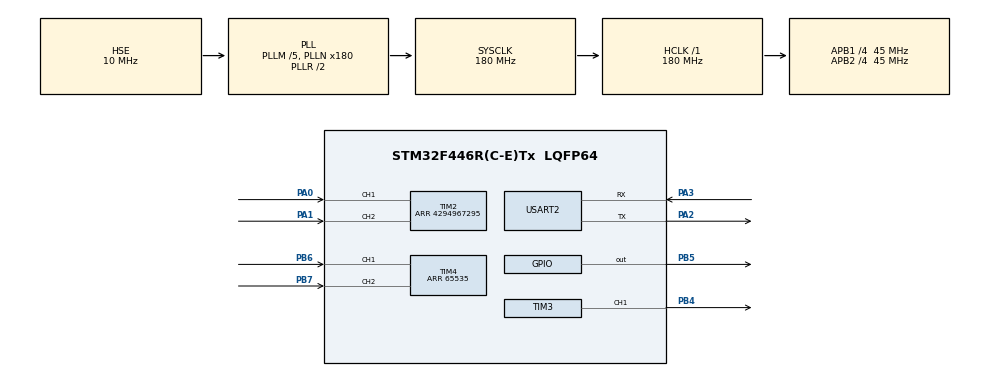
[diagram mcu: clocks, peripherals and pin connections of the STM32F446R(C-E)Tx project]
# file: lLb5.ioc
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Mcu.Family=STM32F4
RCC.PLLSourceVirtual=RCC_PLLSOURCE_HSE
PH0-OSC_IN.Signal=RCC_OSC_IN
RCC.CortexFreq_Value=180000000
Dma.USART2_TX.0.MemInc=DMA_MINC_ENABLE
TIM4.CounterMode=TIM_COUNTERMODE_UP
Dma.USART2_TX.0.PeriphDataAlignment=DMA_PDATAALIGN_BYTE
RCC.APB1CLKDivider=RCC_HCLK_DIV4
NVIC.USART2_IRQn=true\:0\:0\:false\:false\:true\:true\:true
Dma.USART2_TX.0.FIFOMode=DMA_FIFOMODE_DISABLE
RCC.SYSCLKSource=RCC_SYSCLKSOURCE_PLLRCLK
ProjectManager.StackSize=0x400
PA0-WKUP.Signal=S_TIM2_CH1_ETR
VP_TIM7_VS_ClockSourceINT.Mode=Enable_Timer
PA3.Mode=Asynchronous
SH.S_TIM2_CH2.0=TIM2_CH2,Encoder_Interface
Dma.USART2_TX.0.Priority=DMA_PRIORITY_LOW
ProjectManager.TargetToolchain=STM32CubeIDE
RCC.HCLKFreq_Value=180000000
RCC.APB2TimFreq_Value=90000000
TIM3.Period=100
PB6.Signal=S_TIM4_CH1
TIM7.Period=10000
RCC.USBFreq_Value=180000000
PA1.Signal=S_TIM2_CH2
RCC.AHBFreq_Value=180000000
PH0-OSC_IN.Mode=HSE-External-Oscillator
TIM3.Channel-PWM\ Generation1\ CH1=TIM_CHANNEL_1
RCC.HSE_VALUE=10000000
TIM7.Prescaler=1599
board=custom
RCC.VCOOutputFreq_Value=360000000
RCC.APB2Freq_Value=45000000
TIM3.Prescaler=900
PH1-OSC_OUT.Signal=RCC_OSC_OUT
SH.S_TIM4_CH2.0=TIM4_CH2,Encoder_Interface
PB7.Signal=S_TIM4_CH2
Dma.USART2_TX.0.MemDataAlignment=DMA_MDATAALIGN_BYTE
SH.S_TIM3_CH1.0=TIM3_CH1,PWM Generation1 CH1
TIM2.Period=4294967295
TIM4.Period=65535
Dma.USART2_TX.0.Direction=DMA_MEMORY_TO_PERIPH
Mcu.Name=STM32F446R(C-E)Tx
Dma.USART2_TX.0.Instance=DMA1_Stream6
PA2.Signal=USART2_TX
PH1-OSC_OUT.Mode=HSE-External-Oscillator
RCC.SYSCLKFreq_VALUE=180000000
Mcu.Package=LQFP64
PB5.Signal=GPIO_Output
Dma.USART2_TX.0.PeriphInc=DMA_PINC_DISABLE
USART2.VirtualMode=VM_ASYNC
SH.S_TIM2_CH1_ETR.0=TIM2_CH1,Encoder_Interface
ProjectManager.HeapSize=0x200
Dma.USART2_TX.0.Mode=DMA_NORMAL
NVIC.PriorityGroup=NVIC_PRIORITYGROUP_4
RCC.APB2CLKDivider=RCC_HCLK_DIV4
RCC.PLLM=5
RCC.PLLN=180
SH.S_TIM4_CH1.0=TIM4_CH1,Encoder_Interface
RCC.APB1TimFreq_Value=90000000
PA2.Mode=Asynchronous
Dma.Request0=USART2_TX
NVIC.DMA1_Stream6_IRQn=true\:0\:0\:false\:false\:true\:false\:true
RCC.APB1Freq_Value=45000000
NVIC.TIM7_IRQn=true\:0\:0\:false\:false\:true\:true\:true
VP_TIM3_VS_ClockSourceINT.Mode=Internal
PB4.Signal=S_TIM3_CH1
PA3.Signal=USART2_RX

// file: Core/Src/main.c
/* USER CODE BEGIN Header */
/**
  ******************************************************************************
  * @file           : main.c
  * @brief          : Main program body
  ******************************************************************************
  * @attention
  *
  * Copyright (c) 2022 STMicroelectronics.
  * All rights reserved.
  *
  * This software is licensed under terms that can be found in the LICENSE file
  * in the root directory of this software component.
  * If no LICENSE file comes with this software, it is provided AS-IS.
  *
  ******************************************************************************
  */
/* USER CODE END Header */
#include "main.h"

TIM_HandleTypeDef htim2;
TIM_HandleTypeDef htim3;
TIM_HandleTypeDef htim4;
TIM_HandleTypeDef htim7;

UART_HandleTypeDef huart2;
DMA_HandleTypeDef hdma_usart2_tx;

void SystemClock_Config(void);
static void MX_GPIO_Init(void);
static void MX_DMA_Init(void);
static void MX_TIM2_Init(void);
static void MX_USART2_UART_Init(void);
static void MX_TIM4_Init(void);
static void MX_TIM3_Init(void);
static void MX_TIM7_Init(void);

/* USER CODE BEGIN 0 */
typedef struct {
	uint32_t startByte;
	float control;
	float motor;
	float motor_speed;
	uint32_t endByte;
}outputData;

outputData txData;

/* USER CODE END 0 */

int main(void)
{

  /* MCU Configuration--------------------------------------------------------*/

  /* Reset of all peripherals, Initializes the Flash interface and the Systick. */
  HAL_Init();

  /* Configure the system clock */
  SystemClock_Config();

  /* Initialize all configured peripherals */
  MX_GPIO_Init();
  MX_DMA_Init();
  MX_TIM2_Init();
  MX_USART2_UART_Init();
  MX_TIM4_Init();
  MX_TIM3_Init();
  MX_TIM7_Init();
  /* USER CODE BEGIN 2 */
  HAL_TIM_PWM_Start(&htim3, TIM_CHANNEL_1);
  HAL_TIM_Base_Start_IT(&htim7);
  HAL_TIM_Encoder_Start(&htim2, TIM_CHANNEL_ALL);
  HAL_TIM_Encoder_Start(&htim4, TIM_CHANNEL_ALL);
  /* USER CODE END 2 */

  /* Infinite loop */
  while (1)
  {

  }
}

void SystemClock_Config(void)
{
  RCC_OscInitTypeDef RCC_OscInitStruct = {0};
  RCC_ClkInitTypeDef RCC_ClkInitStruct = {0};

  /** Configure the main internal regulator output voltage
  */
  __HAL_RCC_PWR_CLK_ENABLE();
  __HAL_PWR_VOLTAGESCALING_CONFIG(PWR_REGULATOR_VOLTAGE_SCALE1);
  /** Initializes the RCC Oscillators according to the specified parameters
  * in the RCC_OscInitTypeDef structure.
  */
  RCC_OscInitStruct.OscillatorType = RCC_OSCILLATORTYPE_HSE;
  RCC_OscInitStruct.HSEState = RCC_HSE_ON;
  RCC_OscInitStruct.PLL.PLLState = RCC_PLL_ON;
  RCC_OscInitStruct.PLL.PLLSource = RCC_PLLSOURCE_HSE;
  RCC_OscInitStruct.PLL.PLLM = 5;
  RCC_OscInitStruct.PLL.PLLN = 180;
  RCC_OscInitStruct.PLL.PLLP = RCC_PLLP_DIV2;
  RCC_OscInitStruct.PLL.PLLQ = 2;
  RCC_OscInitStruct.PLL.PLLR = 2;
  if (HAL_RCC_OscConfig(&RCC_OscInitStruct) != HAL_OK)
  {
    Error_Handler();
  }
  /** Activate the Over-Drive mode
  */
  if (HAL_PWREx_EnableOverDrive() != HAL_OK)
  {
    Error_Handler();
  }
  /** Initializes the CPU, AHB and APB buses clocks
  */
  RCC_ClkInitStruct.ClockType = RCC_CLOCKTYPE_HCLK|RCC_CLOCKTYPE_SYSCLK
                              |RCC_CLOCKTYPE_PCLK1|RCC_CLOCKTYPE_PCLK2;
  RCC_ClkInitStruct.SYSCLKSource = RCC_SYSCLKSOURCE_PLLRCLK;
  RCC_ClkInitStruct.AHBCLKDivider = RCC_SYSCLK_DIV1;
  RCC_ClkInitStruct.APB1CLKDivider = RCC_HCLK_DIV4;
  RCC_ClkInitStruct.APB2CLKDivider = RCC_HCLK_DIV4;

  if (HAL_RCC_ClockConfig(&RCC_ClkInitStruct, FLASH_LATENCY_5) != HAL_OK)
  {
    Error_Handler();
  }
}

static void MX_TIM2_Init(void)
{

  TIM_Encoder_InitTypeDef sConfig = {0};
  TIM_MasterConfigTypeDef sMasterConfig = {0};

  htim2.Instance = TIM2;
  htim2.Init.Prescaler = 0;
  htim2.Init.CounterMode = TIM_COUNTERMODE_UP;
  htim2.Init.Period = 4294967295;
  htim2.Init.ClockDivision = TIM_CLOCKDIVISION_DIV1;
  htim2.Init.AutoReloadPreload = TIM_AUTORELOAD_PRELOAD_DISABLE;
  sConfig.EncoderMode = TIM_ENCODERMODE_TI1;
  sConfig.IC1Polarity = TIM_ICPOLARITY_RISING;
  sConfig.IC1Selection = TIM_ICSELECTION_DIRECTTI;
  sConfig.IC1Prescaler = TIM_ICPSC_DIV1;
  sConfig.IC1Filter = 0;
  sConfig.IC2Polarity = TIM_ICPOLARITY_RISING;
  sConfig.IC2Selection = TIM_ICSELECTION_DIRECTTI;
  sConfig.IC2Prescaler = TIM_ICPSC_DIV1;
  sConfig.IC2Filter = 0;
  if (HAL_TIM_Encoder_Init(&htim2, &sConfig) != HAL_OK)
  {
    Error_Handler();
  }
  sMasterConfig.MasterOutputTrigger = TIM_TRGO_RESET;
  sMasterConfig.MasterSlaveMode = TIM_MASTERSLAVEMODE_DISABLE;
  if (HAL_TIMEx_MasterConfigSynchronization(&htim2, &sMasterConfig) != HAL_OK)
  {
    Error_Handler();
  }

}

static void MX_TIM3_Init(void)
{

  TIM_ClockConfigTypeDef sClockSourceConfig = {0};
  TIM_MasterConfigTypeDef sMasterConfig = {0};
  TIM_OC_InitTypeDef sConfigOC = {0};

  htim3.Instance = TIM3;
  htim3.Init.Prescaler = 900;
  htim3.Init.CounterMode = TIM_COUNTERMODE_UP;
  htim3.Init.Period = 100;
  htim3.Init.ClockDivision = TIM_CLOCKDIVISION_DIV1;
  htim3.Init.AutoReloadPreload = TIM_AUTORELOAD_PRELOAD_DISABLE;
  if (HAL_TIM_Base_Init(&htim3) != HAL_OK)
  {
    Error_Handler();
  }
  sClockSourceConfig.ClockSource = TIM_CLOCKSOURCE_INTERNAL;
  if (HAL_TIM_ConfigClockSource(&htim3, &sClockSourceConfig) != HAL_OK)
  {
    Error_Handler();
  }
  if (HAL_TIM_PWM_Init(&htim3) != HAL_OK)
  {
    Error_Handler();
  }
  sMasterConfig.MasterOutputTrigger = TIM_TRGO_RESET;
  sMasterConfig.MasterSlaveMode = TIM_MASTERSLAVEMODE_DISABLE;
  if (HAL_TIMEx_MasterConfigSynchronization(&htim3, &sMasterConfig) != HAL_OK)
  {
    Error_Handler();
  }
  sConfigOC.OCMode = TIM_OCMODE_PWM1;
  sConfigOC.Pulse = 0;
  sConfigOC.OCPolarity = TIM_OCPOLARITY_HIGH;
  sConfigOC.OCFastMode = TIM_OCFAST_DISABLE;
  if (HAL_TIM_PWM_ConfigChannel(&htim3, &sConfigOC, TIM_CHANNEL_1) != HAL_OK)
  {
    Error_Handler();
  }
  HAL_TIM_MspPostInit(&htim3);

}

static void MX_TIM4_Init(void)
{

  TIM_Encoder_InitTypeDef sConfig = {0};
  TIM_MasterConfigTypeDef sMasterConfig = {0};

  htim4.Instance = TIM4;
  htim4.Init.Prescaler = 0;
  htim4.Init.CounterMode = TIM_COUNTERMODE_UP;
  htim4.Init.Period = 65535;
  htim4.Init.ClockDivision = TIM_CLOCKDIVISION_DIV1;
  htim4.Init.AutoReloadPreload = TIM_AUTORELOAD_PRELOAD_DISABLE;
  sConfig.EncoderMode = TIM_ENCODERMODE_TI1;
  sConfig.IC1Polarity = TIM_ICPOLARITY_RISING;
  sConfig.IC1Selection = TIM_ICSELECTION_DIRECTTI;
  sConfig.IC1Prescaler = TIM_ICPSC_DIV1;
  sConfig.IC1Filter = 0;
  sConfig.IC2Polarity = TIM_ICPOLARITY_RISING;
  sConfig.IC2Selection = TIM_ICSELECTION_DIRECTTI;
  sConfig.IC2Prescaler = TIM_ICPSC_DIV1;
  sConfig.IC2Filter = 0;
  if (HAL_TIM_Encoder_Init(&htim4, &sConfig) != HAL_OK)
  {
    Error_Handler();
  }
  sMasterConfig.MasterOutputTrigger = TIM_TRGO_RESET;
  sMasterConfig.MasterSlaveMode = TIM_MASTERSLAVEMODE_DISABLE;
  if (HAL_TIMEx_MasterConfigSynchronization(&htim4, &sMasterConfig) != HAL_OK)
  {
    Error_Handler();
  }

}

static void MX_TIM7_Init(void)
{

  TIM_MasterConfigTypeDef sMasterConfig = {0};

  htim7.Instance = TIM7;
  htim7.Init.Prescaler = 1599;
  htim7.Init.CounterMode = TIM_COUNTERMODE_UP;
  htim7.Init.Period = 10000;
  htim7.Init.AutoReloadPreload = TIM_AUTORELOAD_PRELOAD_DISABLE;
  if (HAL_TIM_Base_Init(&htim7) != HAL_OK)
  {
    Error_Handler();
  }
  sMasterConfig.MasterOutputTrigger = TIM_TRGO_RESET;
  sMasterConfig.MasterSlaveMode = TIM_MASTERSLAVEMODE_DISABLE;
  if (HAL_TIMEx_MasterConfigSynchronization(&htim7, &sMasterConfig) != HAL_OK)
  {
    Error_Handler();
  }

}

static void MX_USART2_UART_Init(void)
{

  huart2.Instance = USART2;
  huart2.Init.BaudRate = 115200;
  huart2.Init.WordLength = UART_WORDLENGTH_8B;
  huart2.Init.StopBits = UART_STOPBITS_1;
  huart2.Init.Parity = UART_PARITY_NONE;
  huart2.Init.Mode = UART_MODE_TX_RX;
  huart2.Init.HwFlowCtl = UART_HWCONTROL_NONE;
  huart2.Init.OverSampling = UART_OVERSAMPLING_16;
  if (HAL_UART_Init(&huart2) != HAL_OK)
  {
    Error_Handler();
  }

}

static void MX_DMA_Init(void)
{

  /* DMA controller clock enable */
  __HAL_RCC_DMA1_CLK_ENABLE();

  /* DMA interrupt init */
  /* DMA1_Stream6_IRQn interrupt configuration */
  HAL_NVIC_SetPriority(DMA1_Stream6_IRQn, 0, 0);
  HAL_NVIC_EnableIRQ(DMA1_Stream6_IRQn);

}

static void MX_GPIO_Init(void)
{
  GPIO_InitTypeDef GPIO_InitStruct = {0};

  /* GPIO Ports Clock Enable */
  __HAL_RCC_GPIOH_CLK_ENABLE();
  __HAL_RCC_GPIOA_CLK_ENABLE();
  __HAL_RCC_GPIOB_CLK_ENABLE();

  /*Configure GPIO pin Output Level */
  HAL_GPIO_WritePin(GPIOB, GPIO_PIN_5, GPIO_PIN_RESET);

  /*Configure GPIO pin : PB5 */
  GPIO_InitStruct.Pin = GPIO_PIN_5;
  GPIO_InitStruct.Mode = GPIO_MODE_OUTPUT_PP;
  GPIO_InitStruct.Pull = GPIO_NOPULL;
  GPIO_InitStruct.Speed = GPIO_SPEED_FREQ_LOW;
  HAL_GPIO_Init(GPIOB, &GPIO_InitStruct);

}

/* USER CODE BEGIN 4 */
int max_pwm = 100;
int max_speed = 350;
int32_t last_mot = 0;

int32_t max_integral = 100;
int32_t integral = 0;
void HAL_TIM_PeriodElapsedCallback(TIM_HandleTypeDef* htim)
{

	int16_t enc = __HAL_TIM_GET_COUNTER(&htim4);
	int32_t mot = __HAL_TIM_GET_COUNTER(&htim2);
	int32_t speed = mot-last_mot;
	last_mot=mot;

	txData.startByte = 'NNNN';
	txData.control = enc;
	txData.motor = mot;
	txData.motor_speed = speed;
	txData.endByte = 'EEEE';

	int e = enc - speed;
	if (integral>max_integral)integral=max_integral;
	if (integral<-max_integral)integral=-max_integral;
	integral += e/10;
    HAL_UART_Transmit_DMA (&huart2, &txData, sizeof(txData));

	rotare(integral);
}

void rotare ( int pwm ){
 if( pwm > 0){
	 HAL_GPIO_WritePin(GPIOB , GPIO_PIN_5 , 0); // H3
	 __HAL_TIM_SET_COMPARE(&htim3 , TIM_CHANNEL_1 , pwm); // H4;
 } else if ( pwm < 0){
		 HAL_GPIO_WritePin( GPIOB , GPIO_PIN_5 , 1); // H3
		 __HAL_TIM_SET_COMPARE(&htim3 , TIM_CHANNEL_1 , -pwm); // H4;
 } else {
	 __HAL_TIM_SET_COMPARE(&htim3 , TIM_CHANNEL_1 , 0); // H4
 }
}
/* USER CODE END 4 */

void Error_Handler(void)
{
  __disable_irq();
  while (1)
  {
  }
}

/************************ (C) COPYRIGHT STMicroelectronics *****END OF FILE****/
